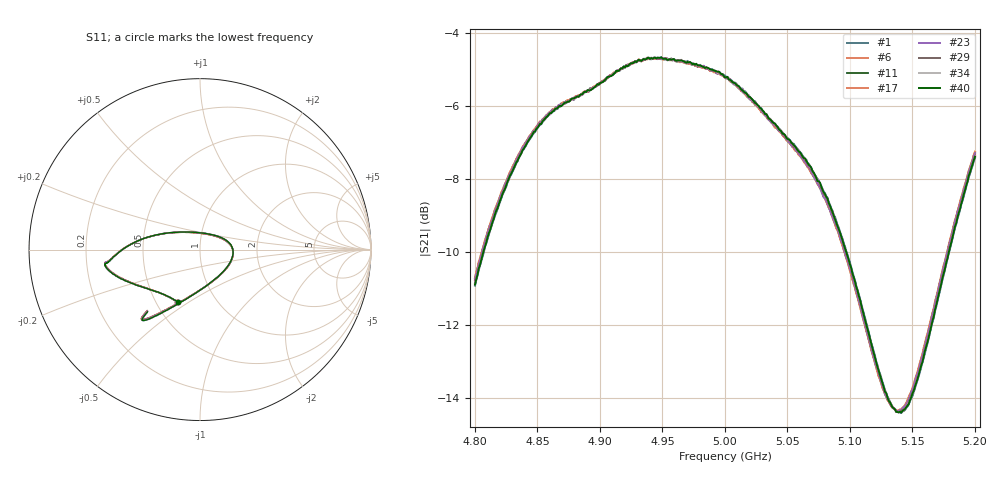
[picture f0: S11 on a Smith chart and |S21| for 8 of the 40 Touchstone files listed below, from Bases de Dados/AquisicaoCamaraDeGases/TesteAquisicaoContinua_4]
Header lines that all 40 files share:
! Network Analyzer HP8722D
! Hewlett-Packard
! Data name: Linha & Wilkinson
! Saver's name: Rodrigo Anjos
! Comments: Teste da utilização de aquisição
! continua pelo VNA HP8722D
!  Frequency  S11  S21  S12  S22
# HZ  S  MA R 50
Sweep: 4.8 GHz to 5.2 GHz
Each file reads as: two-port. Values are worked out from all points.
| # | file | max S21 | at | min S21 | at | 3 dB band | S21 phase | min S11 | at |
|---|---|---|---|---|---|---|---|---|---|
| 1 | teste_arseco&borbulhador_Acetona_10-80_80.S2P | -4.67 dB | 4.946 GHz | -14.4 dB | 5.141 GHz | 4.832 GHz-5.068 GHz | -111 deg at 5 GHz | -20.2 dB | 5.007 GHz |
| 2 | teste_arseco&borbulhador_Acetona_10-80_81.S2P | -4.67 dB | 4.944 GHz | -14.4 dB | 5.141 GHz | 4.832 GHz-5.068 GHz | -111 deg at 5 GHz | -20.2 dB | 5.005 GHz |
| 3 | teste_arseco&borbulhador_Acetona_10-80_82.S2P | -4.67 dB | 4.945 GHz | -14.4 dB | 5.141 GHz | 4.832 GHz-5.067 GHz | -111 deg at 5 GHz | -20.2 dB | 5.005 GHz |
| 4 | teste_arseco&borbulhador_Acetona_10-80_83.S2P | -4.67 dB | 4.944 GHz | -14.4 dB | 5.141 GHz | 4.832 GHz-5.067 GHz | -111 deg at 5 GHz | -20.3 dB | 5.005 GHz |
| 5 | teste_arseco&borbulhador_Acetona_10-80_84.S2P | -4.68 dB | 4.944 GHz | -14.4 dB | 5.139 GHz | 4.831 GHz-5.067 GHz | -111 deg at 5 GHz | -20.3 dB | 5.005 GHz |
| 6 | teste_arseco&borbulhador_Acetona_10-80_85.S2P | -4.69 dB | 4.942 GHz | -14.4 dB | 5.138 GHz | 4.831 GHz-5.067 GHz | -111 deg at 5 GHz | -20.3 dB | 5.005 GHz |
| 7 | teste_arseco&borbulhador_Acetona_10-80_86.S2P | -4.68 dB | 4.944 GHz | -14.4 dB | 5.137 GHz | 4.831 GHz-5.066 GHz | -111 deg at 5 GHz | -20.3 dB | 5.005 GHz |
| 8 | teste_arseco&borbulhador_Acetona_10-80_87.S2P | -4.67 dB | 4.944 GHz | -14.4 dB | 5.138 GHz | 4.831 GHz-5.066 GHz | -111 deg at 5 GHz | -20.4 dB | 5.007 GHz |
| 9 | teste_arseco&borbulhador_Acetona_10-80_88.S2P | -4.67 dB | 4.945 GHz | -14.4 dB | 5.139 GHz | 4.831 GHz-5.066 GHz | -111 deg at 5 GHz | -20.4 dB | 5.005 GHz |
| 10 | teste_arseco&borbulhador_Acetona_10-80_89.S2P | -4.66 dB | 4.944 GHz | -14.4 dB | 5.138 GHz | 4.831 GHz-5.066 GHz | -111 deg at 5 GHz | -20.4 dB | 5.005 GHz |
| 11 | teste_arseco&borbulhador_Acetona_10-80_90.S2P | -4.69 dB | 4.948 GHz | -14.4 dB | 5.137 GHz | 4.831 GHz-5.067 GHz | -111 deg at 5 GHz | -20.4 dB | 5.005 GHz |
| 12 | teste_arseco&borbulhador_Acetona_10-80_91.S2P | -4.67 dB | 4.944 GHz | -14.4 dB | 5.138 GHz | 4.831 GHz-5.066 GHz | -111 deg at 5 GHz | -20.5 dB | 5.005 GHz |
| 13 | teste_arseco&borbulhador_Acetona_10-80_92.S2P | -4.67 dB | 4.944 GHz | -14.4 dB | 5.137 GHz | 4.831 GHz-5.066 GHz | -111 deg at 5 GHz | -20.4 dB | 5.004 GHz |
| 14 | teste_arseco&borbulhador_Acetona_10-80_93.S2P | -4.67 dB | 4.949 GHz | -14.4 dB | 5.139 GHz | 4.83 GHz-5.065 GHz | -111 deg at 5 GHz | -20.5 dB | 5.005 GHz |
| 15 | teste_arseco&borbulhador_Acetona_10-80_94.S2P | -4.67 dB | 4.945 GHz | -14.4 dB | 5.137 GHz | 4.831 GHz-5.066 GHz | -111 deg at 5 GHz | -20.5 dB | 5.005 GHz |
| 16 | teste_arseco&borbulhador_Acetona_10-80_95.S2P | -4.68 dB | 4.945 GHz | -14.4 dB | 5.138 GHz | 4.831 GHz-5.065 GHz | -111 deg at 5 GHz | -20.5 dB | 5.004 GHz |
| 17 | teste_arseco&borbulhador_Acetona_10-80_96.S2P | -4.69 dB | 4.949 GHz | -14.3 dB | 5.138 GHz | 4.83 GHz-5.066 GHz | -111 deg at 5 GHz | -20.5 dB | 5.005 GHz |
| 18 | teste_arseco&borbulhador_Acetona_10-80_97.S2P | -4.68 dB | 4.944 GHz | -14.4 dB | 5.137 GHz | 4.83 GHz-5.066 GHz | -111 deg at 5 GHz | -20.5 dB | 5.005 GHz |
| 19 | teste_arseco&borbulhador_Acetona_10-80_98.S2P | -4.67 dB | 4.944 GHz | -14.4 dB | 5.138 GHz | 4.831 GHz-5.066 GHz | -111 deg at 5 GHz | -20.5 dB | 5.005 GHz |
| 20 | teste_arseco&borbulhador_Acetona_10-80_99.S2P | -4.68 dB | 4.944 GHz | -14.4 dB | 5.137 GHz | 4.83 GHz-5.066 GHz | -111 deg at 5 GHz | -20.5 dB | 5.004 GHz |
| 21 | teste_arseco&borbulhador_Acetona_10-80_100.S2P | -4.68 dB | 4.944 GHz | -14.3 dB | 5.138 GHz | 4.831 GHz-5.065 GHz | -111 deg at 5 GHz | -20.5 dB | 5.005 GHz |
| 22 | teste_arseco&borbulhador_Acetona_10-80_101.S2P | -4.67 dB | 4.944 GHz | -14.4 dB | 5.138 GHz | 4.83 GHz-5.065 GHz | -111 deg at 5 GHz | -20.5 dB | 5.005 GHz |
| 23 | teste_arseco&borbulhador_Acetona_10-80_102.S2P | -4.67 dB | 4.943 GHz | -14.4 dB | 5.138 GHz | 4.831 GHz-5.066 GHz | -111 deg at 5 GHz | -20.5 dB | 5.005 GHz |
| 24 | teste_arseco&borbulhador_Acetona_10-80_103.S2P | -4.68 dB | 4.949 GHz | -14.4 dB | 5.139 GHz | 4.831 GHz-5.067 GHz | -111 deg at 5 GHz | -20.3 dB | 5.005 GHz |
| 25 | teste_arseco&borbulhador_Acetona_10-80_104.S2P | -4.68 dB | 4.945 GHz | -14.4 dB | 5.139 GHz | 4.831 GHz-5.067 GHz | -111 deg at 5 GHz | -20.3 dB | 5.005 GHz |
| 26 | teste_arseco&borbulhador_Acetona_10-80_105.S2P | -4.67 dB | 4.949 GHz | -14.4 dB | 5.139 GHz | 4.831 GHz-5.067 GHz | -111 deg at 5 GHz | -20.3 dB | 5.006 GHz |
| 27 | teste_arseco&borbulhador_Acetona_10-80_106.S2P | -4.67 dB | 4.944 GHz | -14.4 dB | 5.139 GHz | 4.832 GHz-5.067 GHz | -111 deg at 5 GHz | -20.3 dB | 5.005 GHz |
| 28 | teste_arseco&borbulhador_Acetona_10-80_107.S2P | -4.68 dB | 4.945 GHz | -14.4 dB | 5.138 GHz | 4.831 GHz-5.067 GHz | -111 deg at 5 GHz | -20.3 dB | 5.004 GHz |
| 29 | teste_arseco&borbulhador_Acetona_10-80_108.S2P | -4.68 dB | 4.941 GHz | -14.4 dB | 5.139 GHz | 4.832 GHz-5.067 GHz | -111 deg at 5 GHz | -20.3 dB | 5.005 GHz |
| 30 | teste_arseco&borbulhador_Acetona_10-80_109.S2P | -4.68 dB | 4.941 GHz | -14.4 dB | 5.14 GHz | 4.832 GHz-5.067 GHz | -111 deg at 5 GHz | -20.3 dB | 5.005 GHz |
| 31 | teste_arseco&borbulhador_Acetona_10-80_110.S2P | -4.67 dB | 4.949 GHz | -14.4 dB | 5.139 GHz | 4.832 GHz-5.067 GHz | -111 deg at 5 GHz | -20.3 dB | 5.006 GHz |
| 32 | teste_arseco&borbulhador_Acetona_10-80_111.S2P | -4.68 dB | 4.943 GHz | -14.4 dB | 5.141 GHz | 4.832 GHz-5.068 GHz | -111 deg at 5 GHz | -20.2 dB | 5.005 GHz |
| 33 | teste_arseco&borbulhador_Acetona_10-80_112.S2P | -4.68 dB | 4.943 GHz | -14.4 dB | 5.139 GHz | 4.832 GHz-5.067 GHz | -111 deg at 5 GHz | -20.3 dB | 5.005 GHz |
| 34 | teste_arseco&borbulhador_Acetona_10-80_113.S2P | -4.67 dB | 4.938 GHz | -14.4 dB | 5.139 GHz | 4.832 GHz-5.067 GHz | -111 deg at 5 GHz | -20.2 dB | 5.007 GHz |
| 35 | teste_arseco&borbulhador_Acetona_10-80_114.S2P | -4.67 dB | 4.944 GHz | -14.4 dB | 5.141 GHz | 4.832 GHz-5.067 GHz | -111 deg at 5 GHz | -20.2 dB | 5.007 GHz |
| 36 | teste_arseco&borbulhador_Acetona_10-80_115.S2P | -4.66 dB | 4.944 GHz | -14.4 dB | 5.141 GHz | 4.832 GHz-5.068 GHz | -111 deg at 5 GHz | -20.2 dB | 5.007 GHz |
| 37 | teste_arseco&borbulhador_Acetona_10-80_116.S2P | -4.67 dB | 4.949 GHz | -14.4 dB | 5.141 GHz | 4.832 GHz-5.067 GHz | -111 deg at 5 GHz | -20.2 dB | 5.007 GHz |
| 38 | teste_arseco&borbulhador_Acetona_10-80_117.S2P | -4.68 dB | 4.945 GHz | -14.4 dB | 5.139 GHz | 4.832 GHz-5.067 GHz | -111 deg at 5 GHz | -20.2 dB | 5.007 GHz |
| 39 | teste_arseco&borbulhador_Acetona_10-80_118.S2P | -4.66 dB | 4.944 GHz | -14.4 dB | 5.141 GHz | 4.832 GHz-5.067 GHz | -111 deg at 5 GHz | -20.2 dB | 5.005 GHz |
| 40 | teste_arseco&borbulhador_Acetona_10-80_119.S2P | -4.67 dB | 4.949 GHz | -14.4 dB | 5.141 GHz | 4.832 GHz-5.068 GHz | -111 deg at 5 GHz | -20.2 dB | 5.005 GHz |
